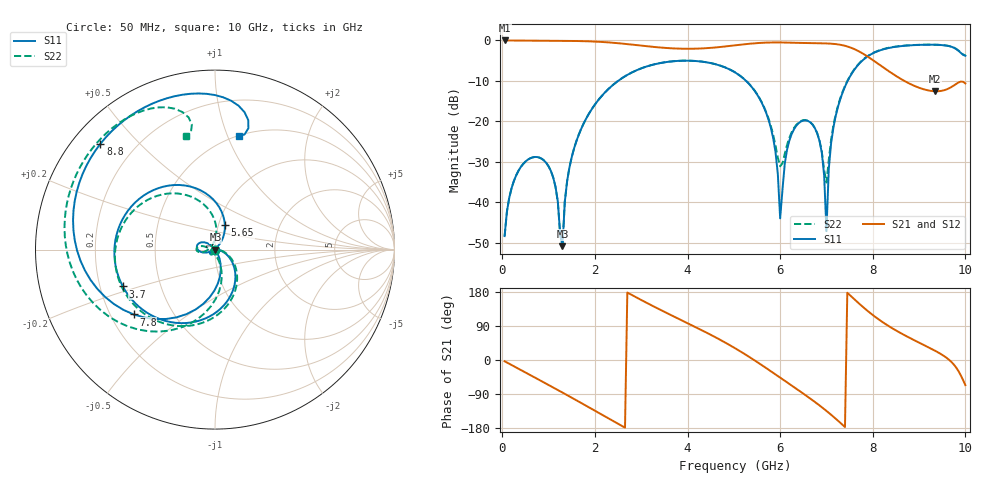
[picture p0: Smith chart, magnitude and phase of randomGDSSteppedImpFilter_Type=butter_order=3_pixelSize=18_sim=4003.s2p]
! freq	dB(S11)	phase(S11)	dB(S12)	phase(S12)
!  dB(S21)	phase(S21)	dB(S22)	phase(S22)
!S-par simulation data
#  GHz  S  DB  R 50
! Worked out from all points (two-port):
!   200 points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, 50 MHz to 10 GHz, reference 50 ohm
!   highest |S21| = -0.01 dB at 50 MHz (marker M1); lowest = -12.6 dB at 9.35 GHz (marker M2)
!   |S21| within 3 dB of the highest: start of sweep to 7.75 GHz
!   lowest |S11| = -50.9 dB at 1.3 GHz (marker M3), VSWR 1.01, Z = 50.3 - j0.0844 ohm
!   |S11| at or under -10 dB: start of sweep to 2.502 GHz; 5.262 GHz to 7.459 GHz (2.196 GHz wide, 34.5 % of centre)
!   |S22| runs from -50.7 to -1.0 dB; largest |S21 - S12| = 0
!   S11 on the Smith chart (normalised r, x): 50 MHz: 1.00, -0.01; 3.7 GHz: 0.30, -0.18; 5.65 GHz: 1.07, +0.30; 7.8 GHz: 0.30, -0.32; 8.8 GHz: 0.08, +0.39; 10 GHz: 0.51, +1.09
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0.05  -48.40 -86.2  -0.01 -3.3  -0.01 -3.3  -48.40 -86.1
0.75  -28.85 -139.9  -0.07 -49.4  -0.07 -49.4  -28.85 -139.2
1.1  -33.91 -163.0  -0.09 -72.6  -0.09 -72.6  -33.95 -162.6
1.3  -50.90 -17.1  -0.10 -86.0  -0.10 -86.0  -50.74 19.5
1.45  -31.43 -9.1  -0.12 -96.1  -0.12 -96.1  -31.39 -5.5
1.75  -20.72 -29.1  -0.18 -116.6  -0.18 -116.6  -20.70 -26.0
3.4  -5.62 -140.0  -1.74 133.2  -1.74 133.2  -5.62 -134.0
3.7  -5.14 -158.2  -1.98 115.1  -1.98 115.1  -5.14 -151.5
5.05  -8.08 115.1  -1.18 29.4  -1.18 29.4  -8.06 127.5
5.65  -16.58 68.2  -0.56 -17.3  -0.56 -17.3  -16.42 89.4
5.9  -27.65 50.4  -0.50 -38.1  -0.50 -38.1  -26.02 92.7
6  -44.02 100.7  -0.50 -46.5  -0.50 -46.5  -31.14 133.1
6.2  -24.72 -163.0  -0.55 -63.2  -0.55 -63.2  -24.04 -168.7
6.7  -20.83 154.7  -0.68 -106.2  -0.68 -106.2  -20.80 168.8
6.9  -27.81 135.3  -0.71 -124.6  -0.71 -124.6  -27.58 165.8
7  -47.18 -6.9  -0.74 -134.3  -0.74 -134.3  -35.15 -124.2
7.2  -18.67 -73.9  -0.91 -154.9  -0.91 -154.9  -18.30 -72.8
7.8  -4.74 -141.5  -3.35 138.6  -3.35 138.6  -4.64 -129.0
8.35  -1.86 168.3  -7.65 89.0  -7.65 89.0  -1.80 -175.0
8.8  -1.22 137.2  -10.72 58.2  -10.72 58.2  -1.18 156.9
9.35  -1.07 104.8  -12.58 24.2  -12.58 24.2  -1.06 127.7
10  -3.81 78.3  -10.63 -66.4  -10.63 -66.4  -3.70 104.2
